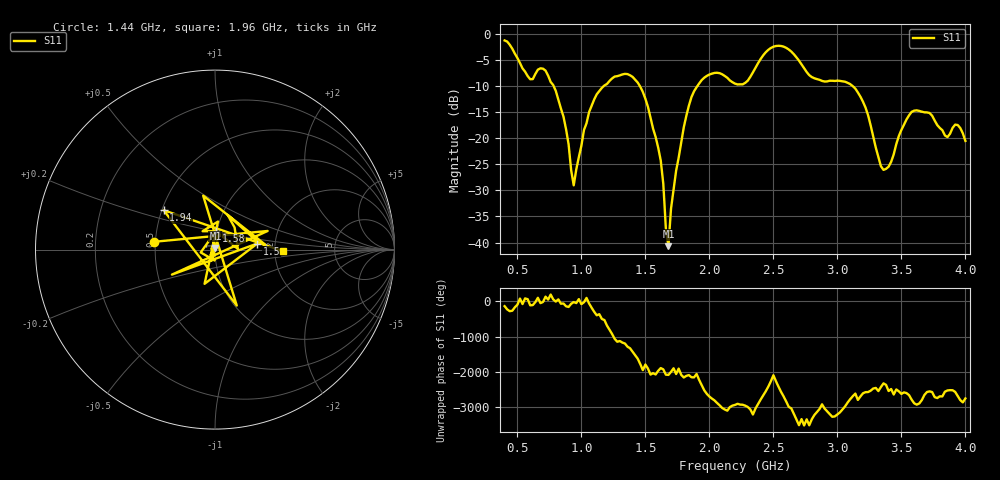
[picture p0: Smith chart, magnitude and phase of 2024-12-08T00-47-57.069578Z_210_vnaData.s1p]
!Created with skrf (http://scikit-rf.org).
# Hz S RI R 50.0
!freq ReS11 ImS11
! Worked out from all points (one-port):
!   181 points, 400 MHz to 4 GHz, reference 50 ohm
!   lowest |S11| = -40.7 dB at 1.68 GHz (marker M1), VSWR 1.02, Z = 50.2 + j0.9 ohm
!   |S11| at or under -10 dB: 783 MHz to 1.175 GHz (392.3 MHz wide, 40.1 % of centre); 1.456 GHz to 1.906 GHz (449.8 MHz wide, 26.8 % of centre); 3.119 GHz to end of sweep
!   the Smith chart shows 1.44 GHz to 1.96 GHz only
!   S11 on the Smith chart (normalised r, x): 1.44 GHz: 0.49, +0.05; 1.5 GHz: 1.61, +0.12; 1.58 GHz: 0.99, +0.20; 1.94 GHz: 0.51, +0.26; 1.96 GHz: 2.23, -0.05
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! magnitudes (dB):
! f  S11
! 400 MHz  -1.3
! 600 MHz  -8.7
! 720 MHz  -7.1
! 860 MHz  -15.9
! 940 MHz  -29.0
! 1.1 GHz  -12.6
! 1.3 GHz  -8.0
! 1.44 GHz  -9.3
! 1.5 GHz  -12.5
! 1.58 GHz  -19.8
! 1.62 GHz  -24.3
! 1.68 GHz  -40.7
! 1.7 GHz  -33.5
! 1.76 GHz  -23.7
! 1.84 GHz  -13.7
! 1.94 GHz  -8.9
! 1.96 GHz  -8.4
! 2.2 GHz  -9.5
! 2.48 GHz  -2.7
! 2.66 GHz  -3.9
! 2.8 GHz  -8.3
! 3.1 GHz  -9.6
! 3.22 GHz  -14.1
! 3.36 GHz  -26.1
! 3.56 GHz  -15.6
! 3.86 GHz  -19.8
! 3.94 GHz  -17.5
! 4 GHz  -20.5
